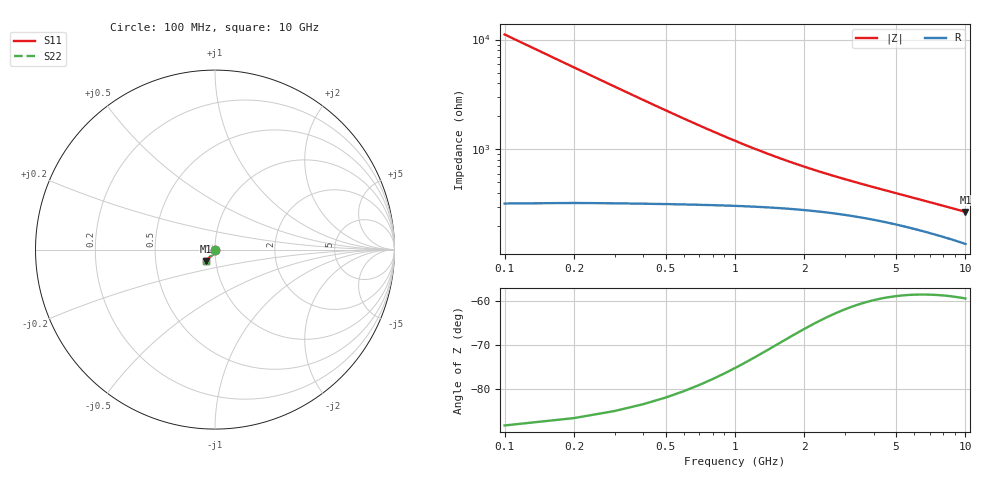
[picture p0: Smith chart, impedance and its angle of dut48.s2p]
! Touchstone file exported from HFSS 2024.1.0
!  File:  C:/UserFiles/LocalFiles/RDL_TSV_Batchsim/temp_TSV1_48_1778748470.aedt
!  Generated:  04:52:22 PM May 14, 2026
!  Design:  TSV1
!  Project:  temp_TSV1_48_1778748470
!  Setup:  Setup1
!  Solution:  Sweep
! Variables:
!  dtsv = 22.63um
!  hbump = 3um
!  htsv = 51.73um
!  lrdl = 252.1521522um
!  p = 40
!  p1 = 47.41um
!  t = 500um
!  trdl = 3um
!  wrdl = 24.89489489um
# GHz S MA R 50.000000
! Terminal data exported
! Port[1] = TSV22_T1
! Port[2] = TSV22_T2
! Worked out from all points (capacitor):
!   100 points, 100 MHz to 10 GHz, reference 50 ohm
!   read as one part in shunt: C = 143 fF near 100 MHz
!   lowest |Z| = 269 ohm at 10 GHz (marker M1)
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0.1  0.002081 -89.9  0.9999 -0.1  0.9999 -0.1  0.002081 -89.9
! Gamma 0 0 0 0
! Port Impedance 50 0 50 0
0.2  0.004156 -92.7  0.9996 -0.3  0.9996 -0.3  0.004156 -92.7
0.3  0.006218 -94.8  0.9993 -0.4  0.9993 -0.4  0.006218 -94.8
0.4  0.008255 -96.7  0.9988 -0.5  0.9988 -0.5  0.008255 -96.7
0.5  0.01026 -98.4  0.9983 -0.7  0.9983 -0.7  0.01026 -98.4
0.6  0.01221 -100.1  0.9976 -0.8  0.9976 -0.8  0.01221 -100.1
0.7  0.01411 -101.6  0.9968 -0.9  0.9968 -0.9  0.01411 -101.6
0.8  0.01596 -103.2  0.996 -1.0  0.996 -1.0  0.01596 -103.2
0.9  0.01775 -104.6  0.9951 -1.1  0.9951 -1.1  0.01775 -104.6
1.1  0.02112 -107.4  0.9933 -1.3  0.9933 -1.3  0.02112 -107.4
1.4  0.02571 -111.0  0.9904 -1.6  0.9904 -1.6  0.02571 -111.0
1.6  0.02846 -113.1  0.9885 -1.7  0.9885 -1.7  0.02846 -113.1
1.8  0.03099 -114.9  0.9866 -1.9  0.9866 -1.9  0.03099 -114.9
2.1  0.03442 -117.3  0.984 -2.1  0.984 -2.1  0.03442 -117.3
2.5  0.03843 -119.8  0.9807 -2.3  0.9807 -2.3  0.03843 -119.8
2.9  0.04195 -121.7  0.9778 -2.5  0.9778 -2.5  0.04195 -121.7
3.4  0.04585 -123.5  0.9747 -2.7  0.9747 -2.7  0.04585 -123.5
4.2  0.05133 -125.4  0.9703 -3.0  0.9703 -3.0  0.05133 -125.4
5.1  0.05676 -126.6  0.9663 -3.3  0.9663 -3.3  0.05676 -126.6
6.7  0.06523 -127.8  0.9605 -3.9  0.9605 -3.9  0.06523 -127.8
8.4  0.07318 -128.4  0.9555 -4.4  0.9555 -4.4  0.07318 -128.4
10  0.08004 -128.5  0.9516 -5.0  0.9516 -5.0  0.08004 -128.5
